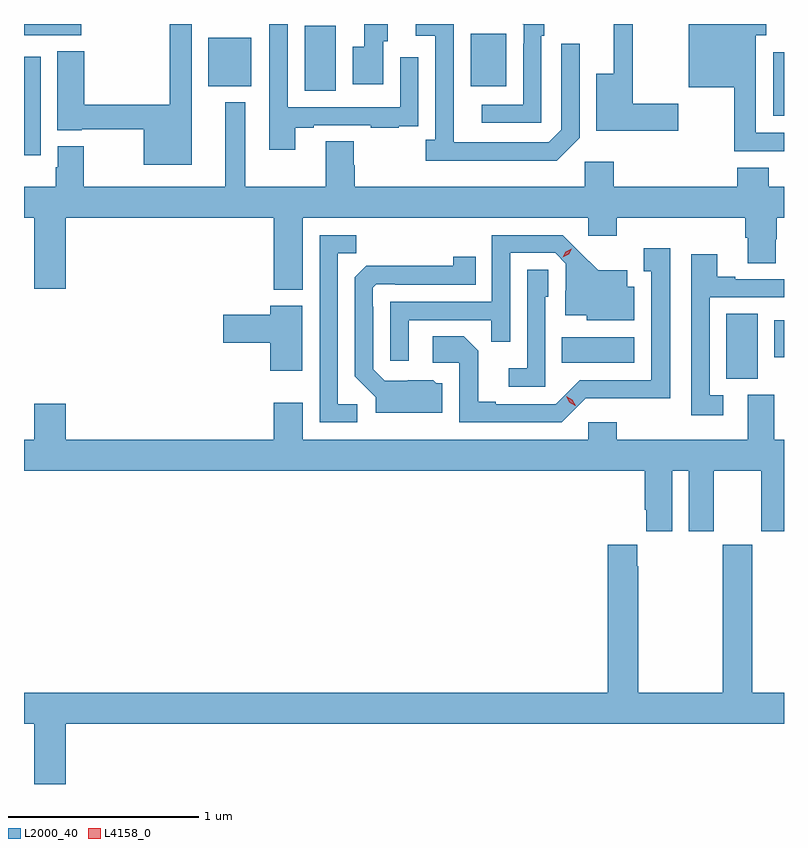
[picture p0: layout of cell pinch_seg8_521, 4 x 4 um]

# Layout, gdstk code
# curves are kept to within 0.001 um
import gdstk
lib = gdstk.Library(unit=1e-6, precision=1e-09)
def R(c, l, rs):  # rectangles x0, y0, x1, y1
    for r in rs: c.add(gdstk.rectangle(r[:2], r[2:], *l))
def P(c, l, *ps):  # polygons
    for p in ps: c.add(gdstk.Polygon(p, *l))
L2000_40 = (2000, 40)
L4158_0 = (4158, 0)

pinch_seg8_521 = lib.new_cell('pinch_seg8_521')
R(pinch_seg8_521, L2000_40, [(132.686,1118.317,132.85,1118.66), (131.818,1118.402,132.202,1118.536), (132.938,1118.429,132.989,1118.626), (128.989,1119.492,129.076,1120.012), (132.932,1119.701,132.989,1120.036), (130.466,1119.832,130.63,1120.176), (129.959,1119.857,130.186,1120.111), (131.339,1119.857,131.527,1120.132), (128.989,1120.125,129.291,1120.184)])
P(pinch_seg8_521, L2000_40, [(132.989,1119.612),(132.841,1119.612),(132.841,1120.124),(132.895,1120.124),(132.895,1120.184),(132.488,1120.184),(132.488,1119.851),(132.728,1119.851),(132.728,1119.515),(132.989,1119.515)],
  [(130.417,1119.639),(130.513,1119.639),(130.513,1119.651),(130.813,1119.651),(130.813,1119.639),(130.961,1119.639),(130.961,1119.645),(131.063,1119.645),(131.063,1119.754),(131.064,1119.754),(131.064,1120.009),(130.968,1120.009),(130.968,1119.747),(130.377,1119.747),(130.377,1120.184),(130.281,1120.184),(130.281,1119.522),(130.417,1119.522)],
  [(131.913,1119.585),(131.913,1120.081),(131.817,1120.081),(131.817,1119.627),(131.751,1119.561),(131.251,1119.561),(131.25,1120.184),(131.052,1120.184),(131.052,1120.122),(131.154,1120.122),(131.154,1119.574),(131.103,1119.574),(131.103,1119.464),(131.792,1119.464)],
  [(129.871,1120.184),(129.757,1120.184),(129.757,1119.758),(129.306,1119.758),(129.306,1120.04),(129.164,1120.04),(129.164,1119.626),(129.294,1119.626),(129.294,1119.63),(129.62,1119.63),(129.62,1119.443),(129.871,1119.443)],
  [(131.712,1120.121),(131.727,1120.121),(131.727,1120.184),(131.614,1120.184),(131.619,1120.179),(131.619,1120.079),(131.616,1120.079),(131.616,1119.759),(131.397,1119.759),(131.397,1119.663),(131.712,1119.663)],
  [(130.879,1120.092),(130.903,1120.092),(130.903,1120.184),(130.806,1120.184),(130.806,1120.182),(130.781,1120.182),(130.781,1120.063),(130.718,1120.063),(130.718,1119.867),(130.879,1119.867)],
  [(132.433,1119.764),(132.194,1119.764),(132.194,1120.184),(132.092,1120.184),(132.092,1119.922),(132.002,1119.922),(132.002,1119.622),(132.433,1119.622)],
  [(131.958,1119.069),(132.11,1119.069),(132.11,1119.164),(132.785,1119.164),(132.785,1119.058),(132.797,1119.058),(132.797,1118.926),(132.945,1118.926),(132.945,1119.051),(132.95,1119.051),(132.95,1119.164),(132.989,1119.164),(132.989,1119.328),(132.908,1119.328),(132.908,1119.427),(132.743,1119.427),(132.743,1119.328),(132.092,1119.328),(132.092,1119.46),(131.94,1119.46),(131.94,1119.328),(130.73,1119.328),(130.73,1119.441),(130.725,1119.441),(130.725,1119.566),(130.577,1119.566),(130.577,1119.328),(130.153,1119.328),(130.153,1119.772),(130.049,1119.772),(130.049,1119.328),(129.303,1119.328),(129.303,1119.541),(129.167,1119.541),(129.167,1119.429),(129.155,1119.429),(129.155,1119.328),(128.989,1119.328),(128.989,1119.164),(129.044,1119.164),(129.044,1118.79),(129.208,1118.79),(129.208,1119.164),(130.304,1119.164),(130.304,1118.786),(130.456,1118.786),(130.456,1119.164),(131.958,1119.164)],
  [(131.013,1118.625),(131.449,1118.625),(131.449,1118.512),(131.547,1118.512),(131.547,1118.979),(131.784,1118.979),(131.841,1118.922),(131.841,1118.78),(131.837,1118.78),(131.837,1118.651),(131.952,1118.651),(131.952,1118.624),(132.202,1118.624),(132.202,1118.8),(132.163,1118.8),(132.163,1118.887),(132.011,1118.887),(131.824,1119.072),(131.451,1119.072),(131.451,1118.721),(130.917,1118.721),(130.917,1118.412),(131.013,1118.412)],
  [(130.744,1118.184),(130.641,1118.184),(130.641,1118.977),(130.737,1118.977),(130.737,1119.072),(130.545,1119.072),(130.545,1118.088),(130.744,1118.088)],
  [(131.946,1118.214),(132.391,1118.213),(132.391,1119.004),(132.251,1119.004),(132.251,1118.883),(132.29,1118.883),(132.29,1118.31),(131.913,1118.31),(131.787,1118.184),(131.473,1118.184),(131.473,1118.197),(131.379,1118.197),(131.379,1118.464),(131.303,1118.54),(131.139,1118.54),(131.139,1118.4),(131.28,1118.4),(131.28,1118.088),(131.82,1118.088)],
  [(132.67,1118.229),(132.597,1118.229),(132.597,1118.745),(132.989,1118.745),(132.989,1118.841),(132.733,1118.841),(132.733,1118.854),(132.637,1118.854),(132.637,1118.971),(132.501,1118.971),(132.501,1118.124),(132.67,1118.124)],
  [(131.191,1118.292),(131.16,1118.292),(131.144,1118.308),(130.887,1118.307),(130.827,1118.367),(130.827,1118.696),(130.824,1118.696),(130.824,1118.796),(130.842,1118.814),(130.942,1118.814),(130.942,1118.811),(131.366,1118.811),(131.366,1118.959),(131.248,1118.959),(131.248,1118.912),(130.79,1118.911),(130.731,1118.852),(130.731,1118.33),(130.841,1118.22),(130.841,1118.138),(131.191,1118.138)],
  [(131.733,1118.748),(131.748,1118.748),(131.748,1118.891),(131.637,1118.891),(131.637,1118.371),(131.541,1118.371),(131.541,1118.274),(131.733,1118.274)],
  [(130.453,1118.701),(130.286,1118.701),(130.286,1118.654),(130.038,1118.654),(130.038,1118.507),(130.286,1118.507),(130.286,1118.358),(130.453,1118.358)],
  [(132.4,1117.832),(132.488,1117.832),(132.488,1117.515),(132.619,1117.515),(132.619,1117.832),(132.869,1117.832),(132.869,1117.515),(132.989,1117.515),(132.989,1117.996),(132.937,1117.996),(132.937,1118.232),(132.797,1118.232),(132.797,1117.996),(132.11,1117.996),(132.11,1118.089),(131.958,1118.089),(131.958,1117.996),(130.456,1117.996),(130.456,1118.191),(130.304,1118.191),(130.304,1117.996),(129.208,1117.996),(129.208,1118.185),(129.044,1118.185),(129.044,1117.996),(128.989,1117.996),(128.989,1117.832),(132.257,1117.832),(132.257,1117.627),(132.263,1117.627),(132.263,1117.515),(132.4,1117.515)],
  [(129.208,1116.5),(132.989,1116.5),(132.989,1116.664),(132.822,1116.664),(132.822,1117.444),(132.667,1117.444),(132.667,1116.664),(132.222,1116.664),(132.222,1117.331),(132.217,1117.331),(132.217,1117.444),(132.062,1117.444),(132.062,1116.664),(128.989,1116.664),(128.989,1116.5),(129.044,1116.5),(129.044,1116.184),(129.208,1116.184)])
P(pinch_seg8_521, L4158_0, [(131.891,1118.174),(131.86,1118.193),(131.842,1118.226),(131.842,1118.226),(131.843,1118.226),(131.874,1118.207),(131.892,1118.174),(131.892,1118.174)],
  [(131.824,1118.956),(131.824,1118.956),(131.841,1118.986),(131.871,1119.001),(131.871,1119.001),(131.871,1119.001),(131.855,1118.971),(131.824,1118.956)])

lib.write_gds('pinch_seg8_521.gds')
